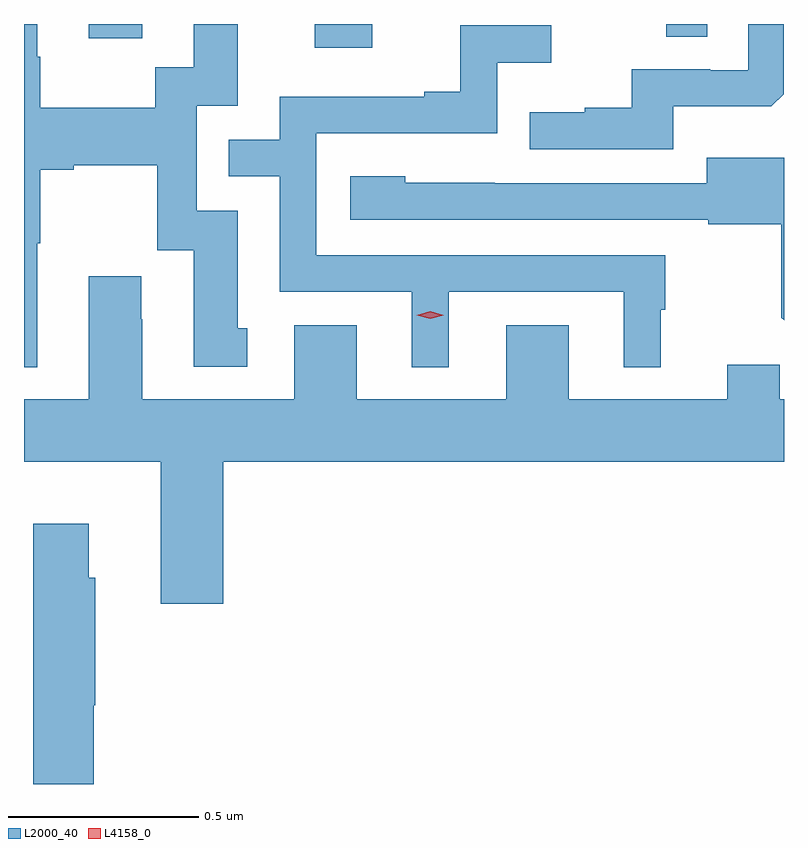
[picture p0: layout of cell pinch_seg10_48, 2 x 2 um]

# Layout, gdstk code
import gdstk
lib = gdstk.Library(unit=1e-6, precision=1e-09)
def R(c, l, rs):  # rectangles x0, y0, x1, y1
    for r in rs: c.add(gdstk.rectangle(r[:2], r[2:], *l))
def P(c, l, *ps):  # polygons
    for p in ps: c.add(gdstk.Polygon(p, *l))
L2000_40 = (2000, 40)
L4158_0 = (4158, 0)

pinch_seg10_48 = lib.new_cell('pinch_seg10_48')
R(pinch_seg10_48, L2000_40, [(872.705,1298.742,872.857,1298.804), (872.111,1298.766,872.251,1298.804), (873.63,1298.77,873.738,1298.804)])
P(pinch_seg10_48, L2000_40, [(871.975,1298.227),(871.983,1298.227),(871.983,1298.42),(872.071,1298.42),(872.071,1298.432),(872.291,1298.432),(872.291,1298.208),(872.387,1298.208),(872.387,1297.902),(872.527,1297.902),(872.527,1298.004),(872.503,1298.004),(872.503,1298.313),(872.394,1298.313),(872.394,1298.589),(872.503,1298.589),(872.503,1298.804),(872.387,1298.804),(872.387,1298.69),(872.286,1298.69),(872.286,1298.584),(871.983,1298.584),(871.983,1298.718),(871.975,1298.718),(871.975,1298.804),(871.94,1298.804),(871.94,1297.901),(871.975,1297.901)],
  [(873.649,1298.588),(873.907,1298.588),(873.939,1298.619),(873.939,1298.804),(873.846,1298.804),(873.846,1298.682),(873.746,1298.682),(873.746,1298.685),(873.539,1298.685),(873.539,1298.584),(873.415,1298.584),(873.415,1298.572),(873.271,1298.572),(873.271,1298.475),(873.649,1298.475)],
  [(873.058,1298.1),(873.518,1298.1),(873.518,1297.901),(873.616,1297.901),(873.616,1298.052),(873.628,1298.052),(873.628,1298.196),(872.709,1298.196),(872.709,1298.517),(873.186,1298.517),(873.186,1298.702),(873.328,1298.702),(873.328,1298.801),(873.088,1298.801),(873.088,1298.626),(872.993,1298.626),(872.993,1298.613),(872.613,1298.613),(872.613,1298.499),(872.479,1298.499),(872.479,1298.403),(872.613,1298.403),(872.613,1298.1),(872.96,1298.1),(872.96,1297.901),(873.058,1297.901)],
  [(873.94,1298.452),(873.737,1298.452),(873.737,1298.385),(873.179,1298.385),(873.179,1298.386),(872.943,1298.386),(872.943,1298.404),(872.799,1298.404),(872.799,1298.289),(873.741,1298.289),(873.741,1298.277),(873.933,1298.277),(873.933,1298.031),(873.94,1298.024)],
  [(872.464,1297.652),(873.94,1297.652),(873.94,1297.816),(873.929,1297.816),(873.929,1297.907),(873.791,1297.907),(873.791,1297.816),(873.373,1297.816),(873.373,1298.011),(873.209,1298.011),(873.209,1297.816),(872.815,1297.816),(872.815,1298.011),(872.651,1298.011),(872.651,1297.816),(872.251,1297.816),(872.251,1298.027),(872.248,1298.027),(872.248,1298.14),(872.111,1298.14),(872.111,1297.816),(871.94,1297.816),(871.94,1297.652),(872.3,1297.652),(872.3,1297.278),(872.464,1297.278)],
  [(872.123,1297.011),(872.128,1297.011),(872.128,1297.347),(872.11,1297.347),(872.11,1297.489),(871.964,1297.489),(871.964,1296.804),(872.123,1296.804)])
P(pinch_seg10_48, L4158_0, [(873.009,1298.028),(872.974,1298.038),(872.973,1298.038),(872.974,1298.038),(873.009,1298.048),(873.044,1298.038),(873.045,1298.038),(873.044,1298.038)])

lib.write_gds('pinch_seg10_48.gds')
